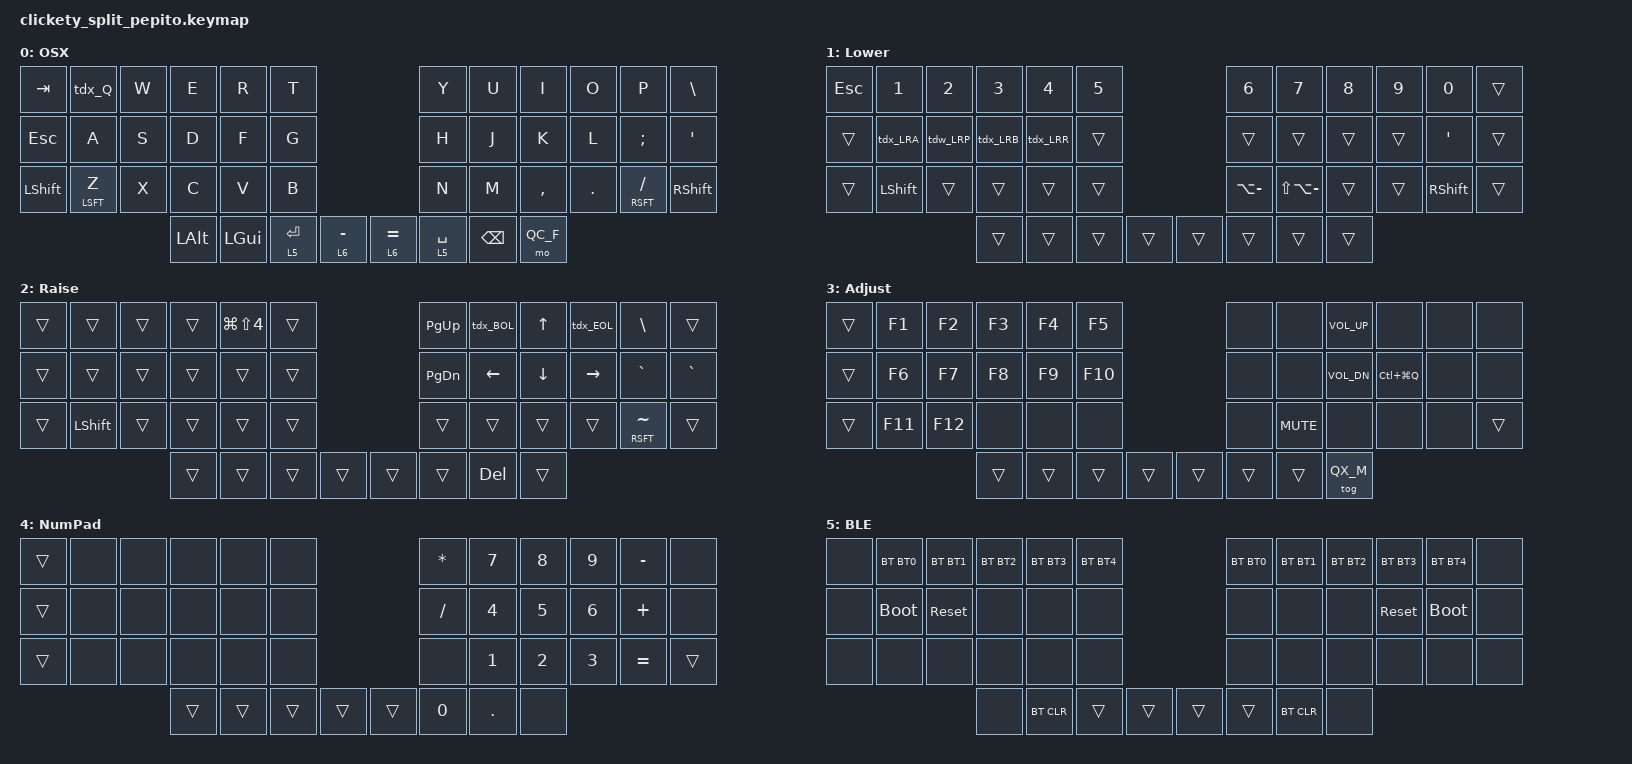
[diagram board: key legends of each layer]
/* vim: set ft=dts noet sw=8 : */

/*
 * Copyright (c) 2023 The ZMK Contributors
 *
 * SPDX-License-Identifier: MIT
 */
#include <behaviors.dtsi>
#include <dt-bindings/zmk/keys.h>
#include <dt-bindings/zmk/bt.h>

// Layers
#define QW_M    0       // Main
#define QW_L    1       // Lower
#define QW_R    2       // Raise
#define QW_A    3       // Adjust

#define QX_M    4       // Main
#define QX_L    5       // Lower
#define QX_R    6       // Raise
#define QX_A    7       // Adjust

#define QC_N    8       // Number Pad
#define QC_F    9       // Firmware


// Short versions
#define OSX_SC  LG(LS(N4))
#define OSX_BOL LG(LEFT)
#define OSX_EOL LG(RIGHT)

#define enDSH_X LA(MINUS)
#define emDSH_X LS(LA(MINUS))

#define BT0     BT_SEL 0
#define BT1     BT_SEL 1
#define BT2     BT_SEL 2
#define BT3     BT_SEL 3
#define BT4     BT_SEL 4

#define BOOTLDR     &bootloader
#define SYSRSET     &sys_reset

#define VOLUP   C_VOL_UP
#define VOLDN   C_VOL_DN
#define VOLMT   C_MUTE

#define LOCK_W  LG(L)
#define LOCK_X  LC(LG(Q))

/ {
    conditional_layers {
        compatible = "zmk,conditional-layers";
        adjust_osx_layer {
            if-layers = <5 6>;
            then-layer = <7>;
        };
    };

    combos {
        compatible = "zmk,combos";

        combo_osx_ESC {
            timeout-ms = <50>;
            key-positions = <0 1>;
            layers = <QX_M>;
            bindings = <&kp ESC>;
        };

    };

    macros {
        enDSH_W: en_Dash {
            label = "enDSH_W";
            compatible = "zmk,behavior-macro";
            #binding-cells = <0>;
            wait-ms = <20>;
            tap-ms = <20>;
            bindings
                = <&macro_press   &kp LALT>
                , <&macro_tap     &kp KP_N0 &kp KP_N1 &kp KP_N5 &kp KP_N0>
                , <&macro_release &kp LALT>
                ;
        };

        emDSH_W: em_Dash {
            label = "emDSH_W";
            compatible = "zmk,behavior-macro";
            #binding-cells = <0>;
            wait-ms = <20>;
            tap-ms = <20>;
            bindings
                = <&macro_press   &kp LALT>
                , <&macro_tap     &kp KP_N0 &kp KP_N1 &kp KP_N5 &kp KP_N1>
                , <&macro_release &kp LALT>
                ;
        };
    };

    behaviors {
        tdw_Q: tap_dance_0 {
            compatible = "zmk,behavior-tap-dance";
            label = "WIN_QUIT";
            #binding-cells = <0>;
            tapping-term-ms = <200>;
            bindings = <&kp Q>, <&kp LA(F4)>;
        };

        tdx_Q: tap_dance_1 {
            compatible = "zmk,behavior-tap-dance";
            label = "OSX_QUIT";
            #binding-cells = <0>;
            tapping-term-ms = <200>;
            bindings = <&kp Q>, <&kp LG(Q)>;
        };

        tdw_LRP: tap_dance_2 {
            compatible = "zmk,behavior-tap-dance";
            label = "WIN_LRPAR";
            #binding-cells = <0>;
            tapping-term-ms = <200>;
            bindings = <&kp LPAR>, <&kp RPAR>;
        };

        tdx_LRB: tap_dance_3 {
            compatible = "zmk,behavior-tap-dance";
            label = "WIN_LRBKT";
            #binding-cells = <0>;
            tapping-term-ms = <200>;
            bindings = <&kp LBKT>, <&kp RBKT>;
        };

        tdx_LRR: tap_dance_4 {
            compatible = "zmk,behavior-tap-dance";
            label = "WIN_LRBRC";
            #binding-cells = <0>;
            tapping-term-ms = <200>;
            bindings = <&kp LBRC>, <&kp RBRC>;
        };

        tdx_LRA: tap_dance_5 {
            compatible = "zmk,behavior-tap-dance";
            label = "WIN_LRANG";
            #binding-cells = <0>;
            tapping-term-ms = <200>;
            bindings = <&kp LT>, <&kp GT>;
        };

        tdx_BOL: tap_dance_6 {
            compatible = "zmk,behavior-tap-dance";
            label = "OSX_BOL";
            #binding-cells = <0>;
            tapping-term-ms = <200>;
            bindings = <&kp LG(LEFT)>, <&kp HOME>;
        };

        tdx_EOL: tap_dance_7 {
            compatible = "zmk,behavior-tap-dance";
            label = "OSX_EOL";
            #binding-cells = <0>;
            tapping-term-ms = <200>;
            bindings = <&kp LG(RIGHT)>, <&kp END>;
        };
    };

    keymap {
        compatible = "zmk,keymap";

        default_osx_layer {
            label = " OSX";
            bindings = <
&kp TAB    &tdx_Q     &kp W      &kp E      &kp R      &kp T                            &kp Y      &kp U      &kp I      &kp O      &kp P         &kp BSLH
&kp ESC   &kp A      &kp S      &kp D      &kp F      &kp G                            &kp H      &kp J      &kp K      &kp L      &kp SEMI      &kp SQT
&kp LSHFT  &mt LSFT Z &kp X      &kp C      &kp V      &kp B                            &kp N      &kp M      &kp COMMA  &kp DOT    &mt RSFT FSLH &kp RSHFT
                            &kp LALT   &kp LGUI   &lt 5 RET  &lt 6 MINUS    &lt 6 EQUAL &lt 5 SPACE  &kp BSPC   &mo QC_F
            >;
        };

        lower_osx_layer {
            label = " Lower";
            bindings = <
&kp ESC    &kp N1     &kp N2     &kp N3     &kp N4     &kp N5                           &kp N6      &kp N7      &kp N8     &kp N9     &kp N0     &trans
&trans     &tdx_LRA   &tdw_LRP   &tdx_LRB   &tdx_LRR   &trans                           &trans      &trans      &trans     &trans     &kp QUOT   &trans
&trans     &kp LSHFT  &trans     &trans     &trans     &trans                           &kp enDSH_X &kp emDSH_X &trans     &trans     &kp RSHFT  &trans
                                 &trans     &trans     &trans     &trans      &trans    &trans      &trans     &trans
            >;
        };

        raise_osx_layer {
            label = " Raise";
            bindings = <
&trans     &trans     &trans     &trans     &kp OSX_SC &trans                           &kp PG_UP  &tdx_BOL   &kp UP     &tdx_EOL   &kp BSLH       &trans
&trans     &trans     &trans     &trans     &trans     &trans                           &kp PG_DN  &kp LEFT   &kp DOWN   &kp RIGHT  &kp GRAVE      &kp GRAV
&trans     &kp LSHFT  &trans     &trans     &trans     &trans                           &trans     &trans     &trans     &trans     &mt RSFT TILDE &trans
                                 &trans     &trans     &trans     &trans      &trans    &trans     &kp DEL    &trans
            >;
        };

        adjust_osx_layer {
            label = " Adjust";
            bindings = <
&trans     &kp F1     &kp F2     &kp F3     &kp F4     &kp F5                           &none      &none      &kp VOLUP  &none      &none      &none
&trans     &kp F6     &kp F7     &kp F8     &kp F9     &kp F10                          &none      &none      &kp VOLDN  &kp LOCK_X &none      &none 
&trans     &kp F11    &kp F12    &none      &none      &none                            &none      &kp VOLMT  &none      &none      &none      &trans
                                 &trans     &trans     &trans     &trans      &trans    &trans     &trans     &tog QX_M
            >;
        };

        numpad_layer {
            label = " NumPad";
            bindings = <
&trans      &none     &none      &none      &none      &none                            &kp ASTRK  &kp N7     &kp N8     &kp N9     &kp MINUS  &none 
&trans      &none     &none      &none      &none      &none                            &kp SLASH  &kp N4     &kp N5     &kp N6     &kp PLUS   &none 
&trans      &none     &none      &none      &none      &none                            &none      &kp N1     &kp N2     &kp N3     &kp EQUAL  &trans
                                 &trans     &trans     &trans     &trans      &trans    &kp N0     &kp DOT    &none 
            >;
        };

        firmware_layer {
            label = " BLE";
            bindings = <
&none       &bt BT0     &bt BT1  &bt BT2    &bt BT3    &bt BT4                          &bt BT0    &bt BT1    &bt BT2    &bt BT3    &bt BT4    &none 
&none       BOOTLDR     SYSRSET  &none      &none      &none                            &none      &none      &none      SYSRSET    BOOTLDR    &none
&none       &none       &none    &none      &none      &none                            &none      &none      &none      &none      &none      &none
                                 &none      &bt BT_CLR &trans     &trans      &trans    &trans     &bt BT_CLR &none 
            >;
        };
    };
};
